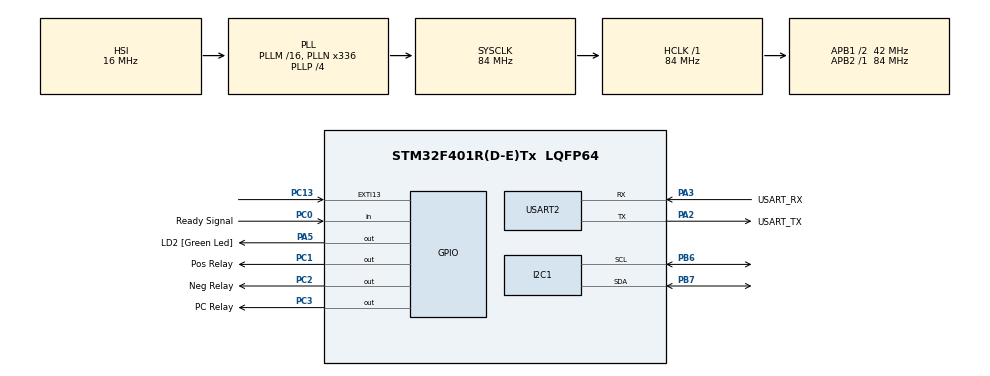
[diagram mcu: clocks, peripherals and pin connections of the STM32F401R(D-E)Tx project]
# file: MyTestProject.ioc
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Mcu.Family=STM32F4
Mcu.Name=STM32F401R(D-E)Tx
Mcu.Package=LQFP64
NVIC.PriorityGroup=NVIC_PRIORITYGROUP_4
PA13.GPIO_Label=TMS
PA13.Mode=Trace_Asynchronous_SW
PA13.Signal=SYS_JTMS-SWDIO
PA14.GPIO_Label=TCK
PA14.Mode=Trace_Asynchronous_SW
PA14.Signal=SYS_JTCK-SWCLK
PA2.GPIO_Label=USART_TX
PA2.GPIO_Mode=GPIO_MODE_AF_PP
PA2.GPIO_PuPd=GPIO_NOPULL
PA2.GPIO_Speed=GPIO_SPEED_FREQ_LOW
PA2.Mode=Asynchronous
PA2.Signal=USART2_TX
PA3.GPIO_Label=USART_RX
PA3.GPIO_Mode=GPIO_MODE_AF_PP
PA3.GPIO_PuPd=GPIO_NOPULL
PA3.GPIO_Speed=GPIO_SPEED_FREQ_LOW
PA3.Mode=Asynchronous
PA3.Signal=USART2_RX
PA5.GPIO_Label=LD2 [Green Led]
PA5.GPIO_Mode=GPIO_MODE_OUTPUT_PP
PA5.GPIO_PuPd=GPIO_NOPULL
PA5.GPIO_Speed=GPIO_SPEED_FREQ_LOW
PA5.Signal=GPIO_Output
PB3.GPIO_Label=SWO
PB3.Mode=Trace_Asynchronous_SW
PB3.Signal=SYS_JTDO-SWO
PB6.Mode=I2C
PB6.Signal=I2C1_SCL
PB7.Mode=I2C
PB7.Signal=I2C1_SDA
PC0.GPIO_Label=Ready Signal
PC0.Signal=GPIO_Input
PC1.GPIO_Label=Pos Relay
PC1.Signal=GPIO_Output
PC13-ANTI_TAMP.Signal=GPXTI13
PC14-OSC32_IN.Mode=LSE-External-Oscillator
PC14-OSC32_IN.Signal=RCC_OSC32_IN
PC15-OSC32_OUT.Mode=LSE-External-Oscillator
PC15-OSC32_OUT.Signal=RCC_OSC32_OUT
PC2.GPIO_Label=Neg Relay
PC2.Signal=GPIO_Output
PC3.GPIO_Label=PC Relay
PC3.Signal=GPIO_Output
PH0\ -\ OSC_IN.Mode=HSE-External-Clock-Source
PH0\ -\ OSC_IN.Signal=RCC_OSC_IN
PH1\ -\ OSC_OUT.Mode=HSE-External-Clock-Source
PH1\ -\ OSC_OUT.Signal=RCC_OSC_OUT
ProjectManager.HeapSize=0x200
ProjectManager.StackSize=0x400
ProjectManager.TargetToolchain=STM32CubeIDE
RCC.48MHZClocksFreq_Value=48000000
RCC.AHBFreq_Value=84000000
RCC.APB1CLKDivider=RCC_HCLK_DIV2
RCC.APB1Freq_Value=42000000
RCC.APB1TimFreq_Value=84000000
RCC.APB2Freq_Value=84000000
RCC.APB2TimFreq_Value=84000000
RCC.CortexFreq_Value=84000000
RCC.HCLKFreq_Value=84000000
RCC.HSE_VALUE=8000000
RCC.HSI_VALUE=16000000
RCC.PLLN=336
RCC.PLLP=RCC_PLLP_DIV4
RCC.PLLQ=7
RCC.SYSCLKFreq_VALUE=84000000
RCC.SYSCLKSource=RCC_SYSCLKSOURCE_PLLCLK
RCC.VCOOutputFreq_Value=336000000
USART2.VirtualMode=VM_ASYNC
board=NUCLEO-F401RE

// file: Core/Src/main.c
/* USER CODE BEGIN Header */
/**
  ******************************************************************************
  * @file           : main.c
  * @brief          : Main program body
  ******************************************************************************
  * @attention
  *
  * Copyright (c) 2025 STMicroelectronics.
  * All rights reserved.
  *
  * This software is licensed under terms that can be found in the LICENSE file
  * in the root directory of this software component.
  * If no LICENSE file comes with this software, it is provided AS-IS.
  *
  ******************************************************************************
  */
/* USER CODE END Header */
#include "main.h"

I2C_HandleTypeDef hi2c1;

UART_HandleTypeDef huart2;

void SystemClock_Config(void);
static void MX_GPIO_Init(void);
static void MX_USART2_UART_Init(void);
static void MX_I2C1_Init(void);

int main(void)
{

  /* MCU Configuration--------------------------------------------------------*/

  /* Reset of all peripherals, Initializes the Flash interface and the Systick. */
  HAL_Init();

  /* USER CODE BEGIN Init */

  #include <stdbool.h>

  #define PRECHARGE_SIGNAL_PIN     GPIO_PIN_0
  #define PRECHARGE_SIGNAL_PORT    GPIOC

  #define POS_RELAY_PIN            GPIO_PIN_1
  #define POS_RELAY_PORT           GPIOC

  #define NEG_RELAY_PIN            GPIO_PIN_2
  #define NEG_RELAY_PORT           GPIOC

  #define PC_RELAY_PIN             GPIO_PIN_3
  #define PC_RELAY_PORT            GPIOC

  #define PRECHARGE_DELAY_MS       5000

  bool precharge_completed_flag = false;

#include "stm32f4xx_hal.h"
#include <stdio.h>

#define MPU6050_ADDR 0xD0  // Default I2C address (0x68 << 1 for HAL compatibility)
#define WHO_AM_I_REG 0x75  // WHO_AM_I register address
#define PWR_MGMT_1 0x6B    // Power Management 1 register
#define ACCEL_XOUT_H 0x3B  // Accelerometer X high byte register

extern I2C_HandleTypeDef hi2c1;  // Assuming I2C1 is used

  /* USER CODE END Init */

  /* Configure the system clock */
  SystemClock_Config();

  /* Initialize all configured peripherals */
  MX_GPIO_Init();
  MX_USART2_UART_Init();
  MX_I2C1_Init();

  /* Infinite loop */
  while (1)
  {

  }
}

void SystemClock_Config(void)
{
  RCC_OscInitTypeDef RCC_OscInitStruct = {0};
  RCC_ClkInitTypeDef RCC_ClkInitStruct = {0};

  /** Configure the main internal regulator output voltage
  */
  __HAL_RCC_PWR_CLK_ENABLE();
  __HAL_PWR_VOLTAGESCALING_CONFIG(PWR_REGULATOR_VOLTAGE_SCALE2);

  /** Initializes the RCC Oscillators according to the specified parameters
  * in the RCC_OscInitTypeDef structure.
  */
  RCC_OscInitStruct.OscillatorType = RCC_OSCILLATORTYPE_HSI;
  RCC_OscInitStruct.HSIState = RCC_HSI_ON;
  RCC_OscInitStruct.HSICalibrationValue = RCC_HSICALIBRATION_DEFAULT;
  RCC_OscInitStruct.PLL.PLLState = RCC_PLL_ON;
  RCC_OscInitStruct.PLL.PLLSource = RCC_PLLSOURCE_HSI;
  RCC_OscInitStruct.PLL.PLLM = 16;
  RCC_OscInitStruct.PLL.PLLN = 336;
  RCC_OscInitStruct.PLL.PLLP = RCC_PLLP_DIV4;
  RCC_OscInitStruct.PLL.PLLQ = 7;
  if (HAL_RCC_OscConfig(&RCC_OscInitStruct) != HAL_OK)
  {
    Error_Handler();
  }

  /** Initializes the CPU, AHB and APB buses clocks
  */
  RCC_ClkInitStruct.ClockType = RCC_CLOCKTYPE_HCLK|RCC_CLOCKTYPE_SYSCLK
                              |RCC_CLOCKTYPE_PCLK1|RCC_CLOCKTYPE_PCLK2;
  RCC_ClkInitStruct.SYSCLKSource = RCC_SYSCLKSOURCE_PLLCLK;
  RCC_ClkInitStruct.AHBCLKDivider = RCC_SYSCLK_DIV1;
  RCC_ClkInitStruct.APB1CLKDivider = RCC_HCLK_DIV2;
  RCC_ClkInitStruct.APB2CLKDivider = RCC_HCLK_DIV1;

  if (HAL_RCC_ClockConfig(&RCC_ClkInitStruct, FLASH_LATENCY_2) != HAL_OK)
  {
    Error_Handler();
  }
}

static void MX_I2C1_Init(void)
{

  hi2c1.Instance = I2C1;
  hi2c1.Init.ClockSpeed = 100000;
  hi2c1.Init.DutyCycle = I2C_DUTYCYCLE_2;
  hi2c1.Init.OwnAddress1 = 0;
  hi2c1.Init.AddressingMode = I2C_ADDRESSINGMODE_7BIT;
  hi2c1.Init.DualAddressMode = I2C_DUALADDRESS_DISABLE;
  hi2c1.Init.OwnAddress2 = 0;
  hi2c1.Init.GeneralCallMode = I2C_GENERALCALL_DISABLE;
  hi2c1.Init.NoStretchMode = I2C_NOSTRETCH_DISABLE;
  if (HAL_I2C_Init(&hi2c1) != HAL_OK)
  {
    Error_Handler();
  }

}

static void MX_USART2_UART_Init(void)
{

  huart2.Instance = USART2;
  huart2.Init.BaudRate = 115200;
  huart2.Init.WordLength = UART_WORDLENGTH_8B;
  huart2.Init.StopBits = UART_STOPBITS_1;
  huart2.Init.Parity = UART_PARITY_NONE;
  huart2.Init.Mode = UART_MODE_TX_RX;
  huart2.Init.HwFlowCtl = UART_HWCONTROL_NONE;
  huart2.Init.OverSampling = UART_OVERSAMPLING_16;
  if (HAL_UART_Init(&huart2) != HAL_OK)
  {
    Error_Handler();
  }

}

static void MX_GPIO_Init(void)
{
  GPIO_InitTypeDef GPIO_InitStruct = {0};

  /* GPIO Ports Clock Enable */
  __HAL_RCC_GPIOC_CLK_ENABLE();
  __HAL_RCC_GPIOH_CLK_ENABLE();
  __HAL_RCC_GPIOA_CLK_ENABLE();
  __HAL_RCC_GPIOB_CLK_ENABLE();

  /*Configure GPIO pin Output Level */
  HAL_GPIO_WritePin(GPIOC, Pos_Relay_Pin|Neg_Relay_Pin|PC_Relay_Pin, GPIO_PIN_RESET);

  /*Configure GPIO pin Output Level */
  HAL_GPIO_WritePin(LD2_GPIO_Port, LD2_Pin, GPIO_PIN_RESET);

  /*Configure GPIO pin : PC13 */
  GPIO_InitStruct.Pin = GPIO_PIN_13;
  GPIO_InitStruct.Mode = GPIO_MODE_IT_RISING;
  GPIO_InitStruct.Pull = GPIO_NOPULL;
  HAL_GPIO_Init(GPIOC, &GPIO_InitStruct);

  /*Configure GPIO pin : Ready_Signal_Pin */
  GPIO_InitStruct.Pin = Ready_Signal_Pin;
  GPIO_InitStruct.Mode = GPIO_MODE_INPUT;
  GPIO_InitStruct.Pull = GPIO_NOPULL;
  HAL_GPIO_Init(Ready_Signal_GPIO_Port, &GPIO_InitStruct);

  /*Configure GPIO pins : Pos_Relay_Pin Neg_Relay_Pin PC_Relay_Pin */
  GPIO_InitStruct.Pin = Pos_Relay_Pin|Neg_Relay_Pin|PC_Relay_Pin;
  GPIO_InitStruct.Mode = GPIO_MODE_OUTPUT_PP;
  GPIO_InitStruct.Pull = GPIO_NOPULL;
  GPIO_InitStruct.Speed = GPIO_SPEED_FREQ_LOW;
  HAL_GPIO_Init(GPIOC, &GPIO_InitStruct);

  /*Configure GPIO pin : LD2_Pin */
  GPIO_InitStruct.Pin = LD2_Pin;
  GPIO_InitStruct.Mode = GPIO_MODE_OUTPUT_PP;
  GPIO_InitStruct.Pull = GPIO_NOPULL;
  GPIO_InitStruct.Speed = GPIO_SPEED_FREQ_LOW;
  HAL_GPIO_Init(LD2_GPIO_Port, &GPIO_InitStruct);

}

void Error_Handler(void)
{
  __disable_irq();
  while (1)
  {
  }
}
